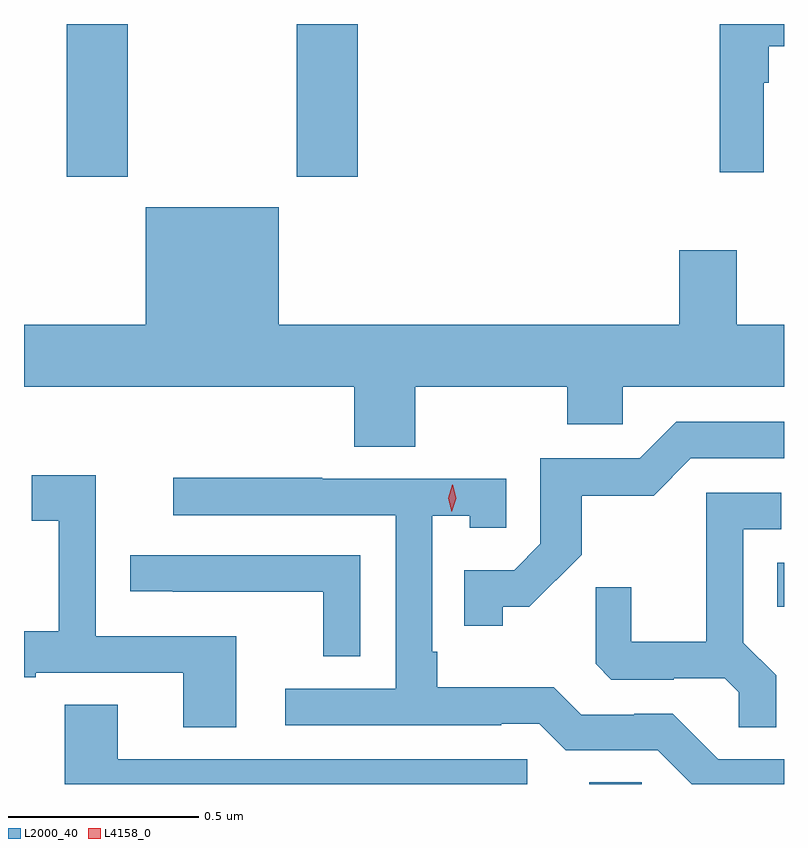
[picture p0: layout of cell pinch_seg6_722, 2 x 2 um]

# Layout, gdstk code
import gdstk
lib = gdstk.Library(unit=1e-6, precision=1e-09)
def R(c, l, rs):  # rectangles x0, y0, x1, y1
    for r in rs: c.add(gdstk.rectangle(r[:2], r[2:], *l))
def P(c, l, *ps):  # polygons
    for p in ps: c.add(gdstk.Polygon(p, *l))
L2000_40 = (2000, 40)
L4158_0 = (4158, 0)

pinch_seg6_722 = lib.new_cell('pinch_seg6_722')
R(pinch_seg6_722, L2000_40, [(435.371,943.627,435.51,943.631), (435.866,944.093,435.884,944.209), (433.997,945.225,434.157,945.627), (434.602,945.225,434.762,945.627)])
P(pinch_seg6_722, L2000_40, [(435.831,945.473),(435.844,945.473),(435.844,945.569),(435.884,945.569),(435.884,945.627),(435.715,945.627),(435.715,945.237),(435.831,945.237)],
  [(434.913,944.672),(435.313,944.672),(435.313,944.574),(435.459,944.574),(435.459,944.672),(435.884,944.672),(435.884,944.836),(435.76,944.836),(435.76,945.031),(435.608,945.031),(435.608,944.836),(434.554,944.836),(434.554,945.145),(434.204,945.145),(434.204,944.836),(433.884,944.836),(433.884,944.672),(434.753,944.672),(434.753,944.515),(434.913,944.515)],
  [(435.144,944.093),(435.214,944.093),(435.352,944.23),(435.352,944.386),(435.541,944.386),(435.639,944.484),(435.884,944.484),(435.884,944.58),(435.6,944.58),(435.504,944.484),(435.243,944.484),(435.243,944.259),(435.174,944.19),(435.043,944.19),(435.043,944.043),(435.144,944.043)],
  [(434.443,944.016),(434.073,944.016),(434.073,944.44),(433.905,944.44),(433.905,944.32),(433.976,944.32),(433.976,944.029),(433.884,944.029),(433.884,943.908),(433.915,943.908),(433.915,943.92),(434.303,943.92),(434.303,943.777),(434.443,943.777)],
  [(435.884,943.692),(435.711,943.692),(435.591,943.812),(435.49,943.812),(435.49,943.809),(435.351,943.809),(435.278,943.882),(434.971,943.882),(434.971,943.975),(434.958,943.975),(434.958,944.333),(435.057,944.333),(435.057,944.301),(435.153,944.301),(435.153,944.43),(434.669,944.43),(434.669,944.433),(434.277,944.433),(434.277,944.334),(434.862,944.334),(434.862,943.878),(434.571,943.878),(434.571,943.782),(435.14,943.782),(435.14,943.785),(435.24,943.785),(435.309,943.716),(435.552,943.716),(435.641,943.627),(435.884,943.627)],
  [(435.863,943.913),(435.777,943.999),(435.777,944.298),(435.877,944.298),(435.877,944.394),(435.68,944.394),(435.68,944.002),(435.482,944.002),(435.482,944.145),(435.388,944.145),(435.388,943.943),(435.429,943.902),(435.594,943.902),(435.594,943.905),(435.728,943.905),(435.765,943.868),(435.765,943.777),(435.863,943.777)],
  [(434.769,944.229),(434.163,944.229),(434.163,944.134),(434.275,944.134),(434.275,944.133),(434.671,944.133),(434.671,943.963),(434.769,943.963)],
  [(435.208,943.692),(434.131,943.692),(434.131,943.835),(433.991,943.835),(433.991,943.627),(435.208,943.627)])
P(pinch_seg6_722, L4158_0, [(435.01,944.343),(435.01,944.343),(435.001,944.379),(435.011,944.415),(435.012,944.415),(435.012,944.415),(435.021,944.379),(435.01,944.343)])

lib.write_gds('pinch_seg6_722.gds')
